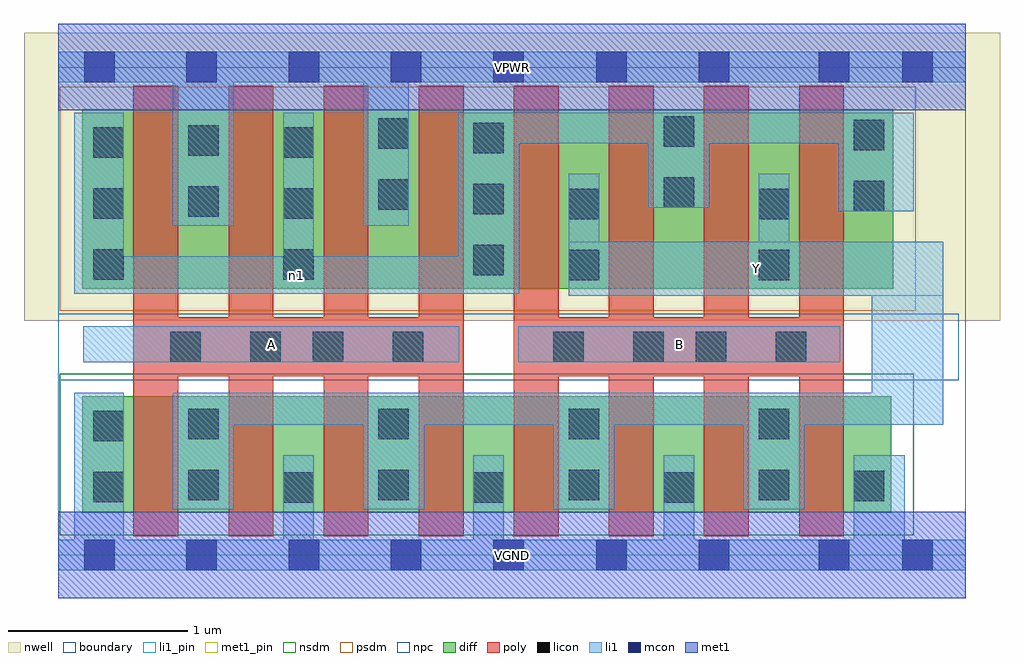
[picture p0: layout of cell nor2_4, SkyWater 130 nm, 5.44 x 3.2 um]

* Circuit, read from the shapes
.subckt nor2_4 A B VGND VPWR Y n1
XM1 Y A VGND VSUBS sky130_fd_pr__nfet_01v8 w=0.65 l=0.25 m=4
XM2 Y B VGND VSUBS sky130_fd_pr__nfet_01v8 w=0.65 l=0.25 m=4
XM3 VPWR A n1 n2 sky130_fd_pr__pfet_01v8 w=1 l=0.25 m=4
XM4 Y B n1 n2 sky130_fd_pr__pfet_01v8 w=1 l=0.25 m=4
.ends

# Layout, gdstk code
import gdstk
lib = gdstk.Library(unit=1e-6, precision=1e-09)
def R(c, l, rs):  # rectangles x0, y0, x1, y1
    for r in rs: c.add(gdstk.rectangle(r[:2], r[2:], *l))
def A(c, l, x, y, w, h, nx, ny, dx, dy):  # array of equal rectangles
    R(c, l, [(x+i*dx, y+j*dy, x+i*dx+w, y+j*dy+h) for i in range(nx) for j in range(ny)])
nwell = (64, 20)
diff = (65, 20)
poly = (66, 20)
licon = (66, 44)
li1_pin = (67, 16)
li1 = (67, 20)
mcon = (67, 44)
met1_pin = (68, 16)
met1 = (68, 20)
nsdm = (93, 44)
psdm = (94, 20)
npc = (95, 20)
boundary = (235, 4)

nor2_4 = lib.new_cell('nor2_4')
R(nor2_4, nwell, [(-0.19,1.305,5.25,2.91), (0,1.305,5.06,2.91)])
R(nor2_4, diff, [(0.135,0.235,4.645,0.885), (0.135,1.485,4.655,2.485)])
A(nor2_4, poly, 0.42, 0.105, 0.25, 2.51, 8, 1, 0.53, 0)
R(nor2_4, poly, [(0.42,0.995,2.26,1.325), (2.54,0.995,4.38,1.325)])
A(nor2_4, licon, 1.255, 0.29, 0.17, 0.17, 3, 1, 1.06, 0)
A(nor2_4, licon, 0.725, 0.305, 0.17, 0.17, 4, 2, 1.06, 0.34)
A(nor2_4, licon, 0.195, 1.535, 0.17, 0.17, 1, 3, 0, 0.34)
A(nor2_4, licon, 1.255, 1.535, 0.17, 0.17, 1, 3, 0, 0.34)
A(nor2_4, licon, 2.315, 1.56, 0.17, 0.17, 1, 3, 0, 0.34)
R(nor2_4, licon, [(0.195,0.295,0.365,0.465), (4.435,0.3,4.605,0.47), (0.195,0.635,0.365,0.805), (0.625,1.075,0.795,1.245), (1.07,1.075,1.24,1.245), (1.42,1.075,1.59,1.245), (1.865,1.075,2.035,1.245), (2.76,1.075,2.93,1.245), (3.205,1.075,3.375,1.245), (3.555,1.075,3.725,1.245), (4,1.075,4.17,1.245), (2.845,1.53,3.015,1.7), (3.905,1.53,4.075,1.7), (2.845,1.87,3.015,2.04), (3.905,1.87,4.075,2.04), (0.725,1.885,0.895,2.055), (4.435,1.915,4.605,2.085), (1.785,1.925,1.955,2.095), (3.375,1.935,3.545,2.105), (0.725,2.225,0.895,2.395), (4.435,2.255,4.605,2.425), (1.785,2.265,1.955,2.435), (3.375,2.275,3.545,2.445)])
R(nor2_4, li1_pin, [(0.14,1.075,2.235,1.275), (2.565,1.075,4.36,1.275), (2.845,1.445,4.935,1.745)])
A(nor2_4, li1, 1.255, -0.085, 0.17, 0.64, 3, 1, 1.06, 0)
A(nor2_4, li1, 0.64, 0.255, 0.34, 0.65, 4, 1, 1.06, 0)
R(nor2_4, li1, [(0,-0.085,5.06,0.085), (0.09,-0.085,0.365,0.905), (4.435,-0.085,4.72,0.555), (0.64,0.725,4.935,0.905), (4.535,0.725,4.935,1.745), (0.14,1.075,2.235,1.275), (2.565,1.075,4.36,1.275), (2.845,1.445,4.935,1.745), (2.845,1.445,3.015,2.125), (3.905,1.445,4.075,2.125), (0.09,1.455,2.57,1.665), (0.09,1.455,0.365,2.465), (1.255,1.455,1.425,2.465), (2.23,1.455,2.57,2.465), (0.64,1.835,0.98,2.805), (1.7,1.835,1.955,2.805), (4.35,1.915,4.77,2.465), (3.29,1.935,3.63,2.465), (2.23,2.295,4.77,2.465), (0,2.635,5.06,2.805)])
A(nor2_4, mcon, 0.145, -0.085, 0.17, 0.17, 5, 2, 0.57, 2.72)
R(nor2_4, mcon, [(3,-0.085,3.17,0.085), (3.57,-0.085,3.74,0.085), (4.24,-0.085,4.41,0.085), (4.705,-0.085,4.875,0.085), (3,2.635,3.17,2.805), (3.57,2.635,3.74,2.805), (4.24,2.635,4.41,2.805), (4.705,2.635,4.875,2.805)])
R(nor2_4, met1_pin, [(0,-0.24,5.06,0.24), (0,2.48,5.06,2.96)])
R(nor2_4, met1, [(0,-0.24,5.06,0.24), (0,2.48,5.06,2.96)])
R(nor2_4, nsdm, [(0.01,0.11,4.77,1.01)])
R(nor2_4, psdm, [(0.01,1.36,4.78,2.61)])
R(nor2_4, npc, [(0,0.975,5.02,1.345)])
R(nor2_4, boundary, [(0,0,5.06,2.72)])
nor2_4.add(gdstk.Label('A', (1.187,1.175), layer=67, texttype=5))
nor2_4.add(gdstk.Label('B', (3.462,1.175), layer=67, texttype=5))
nor2_4.add(gdstk.Label('Y', (3.89,1.595), layer=67, texttype=5))
nor2_4.add(gdstk.Label('n1', (1.33,1.56), layer=67, texttype=5))
nor2_4.add(gdstk.Label('VPWR', (2.53,2.72), layer=68, texttype=5))
nor2_4.add(gdstk.Label('VGND', (2.53,0), layer=68, texttype=5))
nor2_4.add(gdstk.Label('A', (1.187,1.175), layer=67, texttype=16))
nor2_4.add(gdstk.Label('B', (3.462,1.175), layer=67, texttype=16))
nor2_4.add(gdstk.Label('Y', (3.89,1.595), layer=67, texttype=16))
nor2_4.add(gdstk.Label('VPWR', (2.53,2.72), layer=68, texttype=16))
nor2_4.add(gdstk.Label('VGND', (2.53,0), layer=68, texttype=16))

lib.write_gds('nor2_4.gds')
